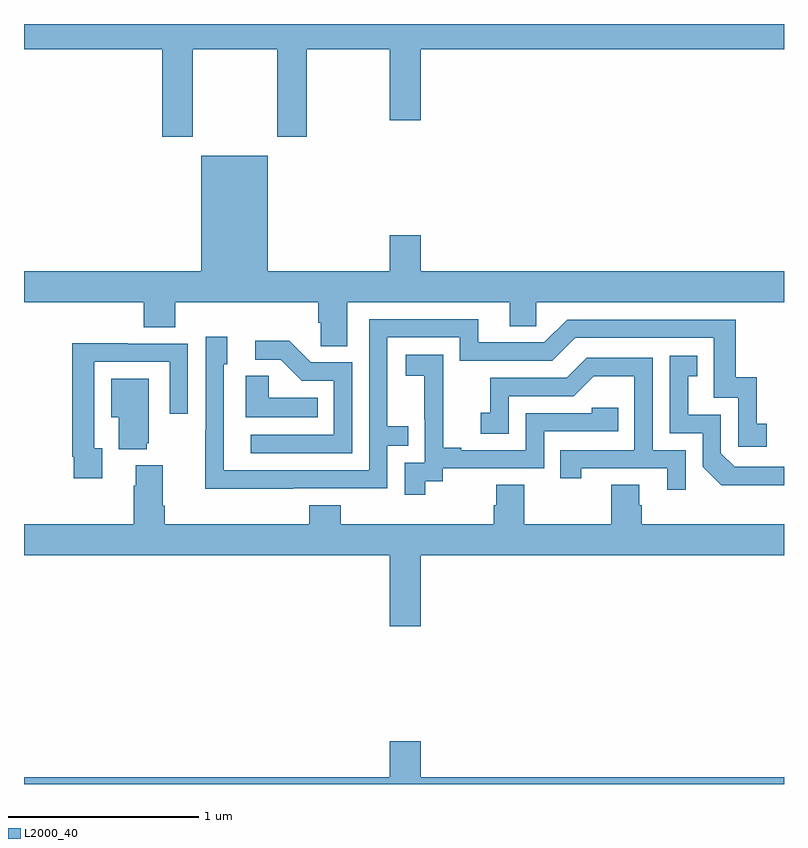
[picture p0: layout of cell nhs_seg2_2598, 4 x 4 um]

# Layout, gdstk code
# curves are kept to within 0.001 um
import gdstk
lib = gdstk.Library(unit=1e-6, precision=1e-09)
def P(c, l, *ps):  # polygons
    for p in ps: c.add(gdstk.Polygon(p, *l))
L2000_40 = (2000, 40)

nhs_seg2_2598 = lib.new_cell('nhs_seg2_2598')
P(nhs_seg2_2598, L2000_40, [(247.887,615.668),(248.332,615.668),(248.332,615.207),(248.487,615.207),(248.487,615.668),(248.924,615.668),(248.924,615.294),(249.088,615.294),(249.088,615.668),(251,615.668),(251,615.8),(247,615.8),(247,615.668),(247.727,615.668),(247.727,615.207),(247.887,615.207)],
  [(248.701,614.336),(249.557,614.336),(249.557,614.209),(249.696,614.209),(249.696,614.336),(251,614.336),(251,614.5),(249.088,614.5),(249.088,614.689),(248.924,614.689),(248.924,614.5),(248.284,614.5),(248.284,615.106),(247.934,615.106),(247.934,614.5),(247,614.5),(247,614.336),(247.631,614.336),(247.631,614.203),(247.796,614.203),(247.796,614.336),(248.549,614.336),(248.549,614.227),(248.562,614.227),(248.562,614.104),(248.701,614.104)],
  [(248.417,613.356),(248.913,613.356),(248.913,613.581),(249.023,613.581),(249.023,613.682),(248.913,613.682),(248.913,614.151),(249.294,614.151),(249.294,614.028),(249.78,614.028),(249.9,614.148),(250.629,614.148),(250.629,613.833),(250.758,613.833),(250.758,613.575),(250.909,613.575),(250.909,613.695),(250.856,613.695),(250.856,613.942),(250.745,613.942),(250.745,614.244),(249.858,614.244),(249.738,614.124),(249.391,614.124),(249.391,614.247),(248.817,614.247),(248.817,613.452),(248.052,613.452),(248.052,614.01),(248.071,614.01),(248.071,614.155),(247.956,614.155),(247.956,613.661),(247.954,613.661),(247.954,613.355)],
  [(248.727,614.019),(248.508,614.019),(248.395,614.132),(248.217,614.132),(248.217,614.034),(248.351,614.034),(248.462,613.923),(248.631,613.923),(248.631,613.638),(248.193,613.638),(248.193,613.542),(248.727,613.542)],
  [(247.411,613.566),(247.371,613.566),(247.371,614.022),(247.767,614.022),(247.767,613.749),(247.863,613.749),(247.863,614.118),(247.547,614.118),(247.547,614.12),(247.255,614.12),(247.255,613.522),(247.263,613.522),(247.263,613.41),(247.411,613.41)],
  [(249.112,613.393),(249.204,613.393),(249.204,613.461),(249.738,613.461),(249.738,613.656),(250.127,613.656),(250.127,613.779),(249.987,613.779),(249.987,613.752),(249.642,613.752),(249.642,613.557),(249.301,613.557),(249.301,613.57),(249.206,613.57),(249.206,613.853),(249.207,613.853),(249.207,614.059),(249.009,614.059),(249.009,613.949),(249.107,613.949),(249.107,613.721),(249.108,613.721),(249.108,613.491),(249.003,613.491),(249.003,613.323),(249.112,613.323)],
  [(251,613.47),(250.74,613.47),(250.668,613.542),(250.668,613.743),(250.495,613.743),(250.495,613.947),(250.544,613.947),(250.544,614.053),(250.398,614.053),(250.398,613.647),(250.572,613.647),(250.572,613.47),(250.67,613.373),(251,613.373)],
  [(250.482,613.557),(250.308,613.557),(250.308,614.043),(249.962,614.043),(249.857,613.938),(249.454,613.938),(249.454,613.753),(249.405,613.753),(249.405,613.644),(249.552,613.644),(249.552,613.842),(249.894,613.842),(249.998,613.946),(250.212,613.946),(250.212,613.557),(249.823,613.557),(249.823,613.41),(249.934,613.41),(249.934,613.461),(250.385,613.461),(250.385,613.35),(250.482,613.35)],
  [(248.546,613.834),(248.289,613.834),(248.289,613.949),(248.168,613.949),(248.168,613.73),(248.546,613.73)],
  [(247.646,613.593),(247.657,613.593),(247.657,613.933),(247.46,613.933),(247.46,613.73),(247.499,613.73),(247.499,613.562),(247.646,613.562)],
  [(249.088,613.004),(251,613.004),(251,613.168),(250.25,613.168),(250.25,613.266),(250.237,613.266),(250.237,613.376),(250.09,613.376),(250.09,613.168),(249.633,613.168),(249.633,613.376),(249.485,613.376),(249.485,613.266),(249.473,613.266),(249.473,613.168),(248.666,613.168),(248.666,613.267),(248.501,613.267),(248.501,613.168),(247.742,613.168),(247.742,613.264),(247.729,613.264),(247.729,613.477),(247.589,613.477),(247.589,613.37),(247.577,613.37),(247.577,613.168),(247,613.168),(247,613.004),(248.924,613.004),(248.924,612.63),(249.088,612.63)],
  [(251,611.836),(249.088,611.836),(249.088,612.025),(248.924,612.025),(248.924,611.836),(247,611.836),(247,611.8),(251,611.8)])

lib.write_gds('nhs_seg2_2598.gds')
